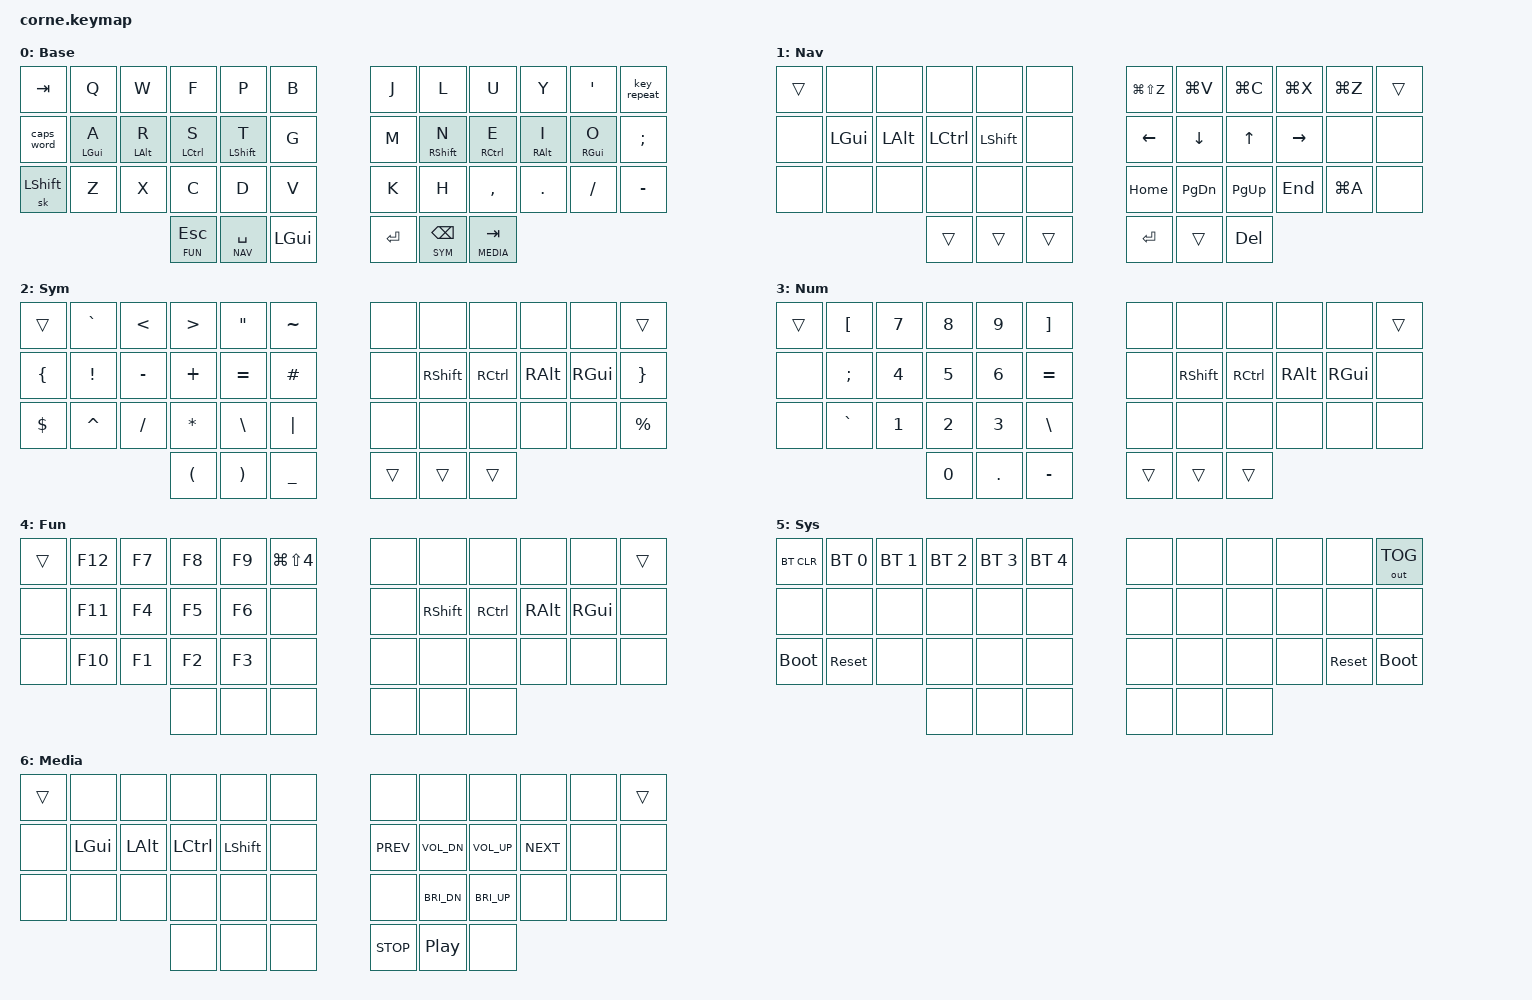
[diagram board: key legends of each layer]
/*
 * Copyright (c) 2020 The ZMK Contributors
 *
 * SPDX-License-Identifier: MIT
 */

#include <behaviors.dtsi>
#include <dt-bindings/zmk/keys.h>
#include <dt-bindings/zmk/bt.h>
#include <dt-bindings/zmk/outputs.h>

#define BASE 0
#define NAV  1
#define SYM  2
#define NUM  3
#define FUN  4
#define SYS  5
#define MEDIA 6

/ {
        behaviors {
                hml: homerow_mod_left {
                        compatible = "zmk,behavior-hold-tap";
                        #binding-cells = <2>;
                        tapping-term-ms = <280>;
                        quick-tap-ms = <175>;
                        require-prior-idle-ms = <150>;
                        flavor = "balanced";
                        hold-trigger-key-positions = <6 7 8 9 10 11 18 19 20 21 22 23 30 31 32 33 34 35 39 40 41>;
                        hold-trigger-on-release;
                        bindings = <&kp>, <&kp>;
                };

                hmr: homerow_mod_right {
                        compatible = "zmk,behavior-hold-tap";
                        #binding-cells = <2>;
                        tapping-term-ms = <280>;
                        quick-tap-ms = <175>;
                        require-prior-idle-ms = <150>;
                        flavor = "balanced";
                        hold-trigger-key-positions = <0 1 2 3 4 5 12 13 14 15 16 17 24 25 26 27 28 29 36 37 38>;
                        hold-trigger-on-release;
                        bindings = <&kp>, <&kp>;
                };

                ltp: layer_tap_pref {
                        compatible = "zmk,behavior-hold-tap";
                        #binding-cells = <2>;
                        tapping-term-ms = <400>;
                        quick-tap-ms = <200>;
                        flavor = "balanced";
                        bindings = <&mo>, <&kp>;
                };
        };

        combos {
                compatible = "zmk,combos";

                combo_sys {
                        timeout-ms = <50>;
                        key-positions = <36 41>;
                        bindings = <&tog SYS>;
                };
        };

        conditional_layers {
                compatible = "zmk,conditional-layers";

                num_layer {
                        if-layers = <NAV SYM>;
                        then-layer = <NUM>;
                };
        };

        keymap {
                compatible = "zmk,keymap";

                base_layer {
// -----------------------------------------------------------------------------------------
// | TAB  |  Q  |  W  |  F  |  P  |  B  |   |  J  |  L  |  U  |  Y  |  '  | REPT |
// | CAPW |A/CMD|R/OPT|S/CTL|T/SFT|  G  |   |  M  |N/SFT|E/CTL|I/OPT|O/CMD|  ;   |
// | SSFT |  Z  |  X  |  C  |  D  |  V  |   |  K  |  H  |  ,  |  .  |  /  |  -   |
//                    |FN/ES| SPC | CMD |   | ENT | BSPC|MD/TB|
                        display-name = "Base";
                        bindings = <
   &kp TAB    &kp Q       &kp W       &kp F        &kp P        &kp B          &kp J  &kp L        &kp U        &kp Y       &kp SQT      &key_repeat
   &caps_word &hml LGUI A &hml LALT R &hml LCTRL S &hml LSHFT T &kp G          &kp M  &hmr RSHFT N &hmr RCTRL E &hmr RALT I &hmr RGUI O  &kp SEMI
   &sk LSHFT  &kp Z       &kp X       &kp C        &kp D        &kp V          &kp K  &kp H        &kp COMMA    &kp DOT     &kp FSLH     &kp MINUS
                                       &ltp FUN ESC &ltp NAV SPACE &kp LGUI     &kp RET &ltp SYM BSPC &ltp MEDIA TAB
                        >;
                };

                nav_layer {
// -----------------------------------------------------------------------------------------
// |      |     |     |     |     |     |   | REDO|PASTE| COPY| CUT | UNDO|      |
// |      | CMD | OPT | CTL | SFT |     |   | LEFT| DOWN|  UP |RIGHT|     |      |
// |      |     |     |     |     |     |   | HOME| PGDN| PGUP| END | SALL|      |
//                    |     |     |     |   | ENT |     | DEL |
                        display-name = "Nav";
                        bindings = <
   &trans &none    &none    &none     &none     &none        &kp LG(LS(Z)) &kp LG(V) &kp LG(C) &kp LG(X) &kp LG(Z) &trans
   &none  &kp LGUI &kp LALT &kp LCTRL &kp LSHFT &none       &kp LEFT   &kp DOWN    &kp UP     &kp RIGHT &none      &none
   &none  &none    &none    &none     &none     &none        &kp HOME   &kp PG_DN   &kp PG_UP  &kp END   &kp LG(A)  &none
                            &trans    &trans    &trans       &kp RET    &trans      &kp DEL
                        >;
                };

                sym_layer {
// -----------------------------------------------------------------------------------------
// |      |  `  |  <  |  >  |  "  |  ~  |   |     |     |     |     |     |      |
// |  {   |  !  |  -  |  +  |  =  |  #  |   |     | SHFT| CTRL| ALT | GUI |  }   |
// |  $   |  ^  |  /  |  *  |  \  |  |  |   |     |     |     |     |     |  %   |
//                    |  (  |  )  |  _  |   |     |     |     |
                        display-name = "Sym";
                        bindings = <
   &trans    &kp GRAVE &kp LT    &kp GT   &kp DQT  &kp TILDE      &none &none     &none     &none    &none    &trans
   &kp LBRC &kp EXCL  &kp MINUS &kp PLUS &kp EQUAL &kp HASH       &none &kp RSHFT &kp RCTRL &kp RALT &kp RGUI &kp RBRC
   &kp DLLR &kp CARET &kp FSLH  &kp STAR &kp BSLH &kp PIPE        &none &none     &none     &none    &none    &kp PRCNT
                               &kp LPAR &kp RPAR &kp UNDER      &trans &trans   &trans
                        >;
                };

                num_layer {
// -----------------------------------------------------------------------------------------
// |      |  [  |  7  |  8  |  9  |  ]  |   |     |     |     |     |     |      |
// |      |  ;  |  4  |  5  |  6  |  =  |   |     | SHFT| CTRL| ALT | GUI |      |
// |      |  `  |  1  |  2  |  3  |  \  |   |     |     |     |     |     |      |
//                    |  0  |  .  |  -  |   |     |     |     |
                        display-name = "Num";
                        bindings = <
   &trans &kp LBKT &kp N7 &kp N8  &kp N9 &kp RBKT       &none &none     &none     &none    &none    &trans
   &none  &kp SEMI &kp N4 &kp N5  &kp N6 &kp EQUAL      &none &kp RSHFT &kp RCTRL &kp RALT &kp RGUI &none
   &none  &kp GRAVE &kp N1 &kp N2 &kp N3 &kp BSLH       &none &none     &none     &none    &none    &none
                           &kp N0 &kp DOT &kp MINUS      &trans &trans   &trans
                        >;
                };

                fun_layer {
// -----------------------------------------------------------------------------------------
// |      | F12 |  F7 |  F8 |  F9 | SS4 |   |     |     |     |     |     |      |
// |      | F11 |  F4 |  F5 |  F6 |     |   |     | SFT | CTL | OPT | CMD |      |
// |      | F10 |  F1 |  F2 |  F3 |     |   |     |     |     |     |     |      |
//                    |     |     |     |   |     |     |     |
                        display-name = "Fun";
                        bindings = <
   &trans &kp F12 &kp F7 &kp F8 &kp F9 &kp LG(LS(N4))     &none &none     &none     &none    &none    &trans
   &none  &kp F11 &kp F4 &kp F5 &kp F6 &none              &none &kp RSHFT &kp RCTRL &kp RALT &kp RGUI &none
   &none  &kp F10 &kp F1 &kp F2 &kp F3 &none              &none &none     &none     &none    &none    &none
                          &none  &none  &none               &none &none     &none
                        >;
                };

                sys_layer {
// -----------------------------------------------------------------------------------------
// |BTCLR | BT1 | BT2 | BT3 | BT4 | BT5 |   |     |     |     |     |     |OUTTOG|
// |      |     |     |     |     |     |   |     |     |     |     |     |      |
// | BOOT |RESET|     |     |     |     |   |     |     |     |     |RESET| BOOT |
//                    |     |     |     |   |     |     |     |
                        display-name = "Sys";
                        bindings = <
   &bt BT_CLR  &bt BT_SEL 0 &bt BT_SEL 1 &bt BT_SEL 2 &bt BT_SEL 3 &bt BT_SEL 4   &none &none &none &none &none       &out OUT_TOG
   &none       &none        &none        &none        &none        &none             &none &none &none &none &none       &none
   &bootloader &sys_reset   &none        &none        &none        &none             &none &none &none &none &sys_reset  &bootloader
                                         &none        &none        &none             &none &none &none
                        >;
                };

                media_layer {
// -----------------------------------------------------------------------------------------
// |      |     |     |     |     |     |   |     |     |     |     |     |      |
// |      | CMD | OPT | CTL | SFT |     |   | PREV|VOL- |VOL+ | NEXT|     |      |
// |      |     |     |     |     |     |   |     |BRI- |BRI+ |     |     |      |
//                    |     |     |     |   | STOP| PLAY|     |
                        display-name = "Media";
                        bindings = <
   &trans &none    &none    &none     &none     &none        &none      &none        &none        &none      &none &trans
   &none  &kp LGUI &kp LALT &kp LCTRL &kp LSHFT &none       &kp C_PREV &kp C_VOL_DN &kp C_VOL_UP &kp C_NEXT &none &none
   &none  &none    &none    &none     &none     &none        &none      &kp C_BRI_DN &kp C_BRI_UP &none      &none &none
                            &none     &none     &none        &kp C_STOP &kp C_PP     &none
                        >;
                };
        };
};
